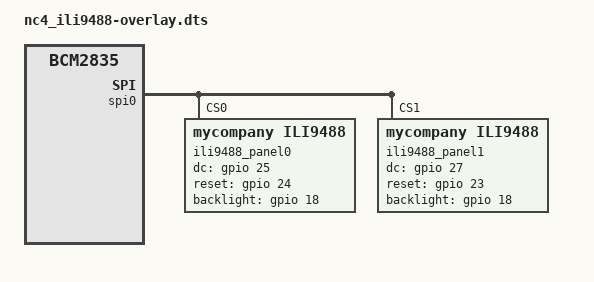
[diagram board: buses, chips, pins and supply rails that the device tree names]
/dts-v1/;
/plugin/;

/ {
	compatible = "brcm,bcm2835";

	fragment@0 {
		target = <&spi0>;
		__overlay__ {
			status = "okay";
		};
	};

	/*
	 * Example configuration for two panels on SPI0 CE0 and CE1.
	 * Add a third panel by duplicating the node with reg=<2> if needed.
	 */

	fragment@1 {
		target = <&spi0>;
		__overlay__ {
			#address-cells = <1>;
			#size-cells = <0>;

			ili9488_panel0: ili9488-panel@0 {
				compatible = "mycompany,ili9488";
				reg = <0>; /* CE0 */
				dc-gpios = <&gpio 25 0>;
				reset-gpios = <&gpio 24 0>;
				backlight-gpios = <&gpio 18 0>;
				rotation = <0>;
			};

			ili9488_panel1: ili9488-panel@1 {
				compatible = "mycompany,ili9488";
				reg = <1>; /* CE1 */
				dc-gpios = <&gpio 27 0>;
				reset-gpios = <&gpio 23 0>;
				backlight-gpios = <&gpio 18 0>;
				rotation = <0>;
			};
		};
	};
};
